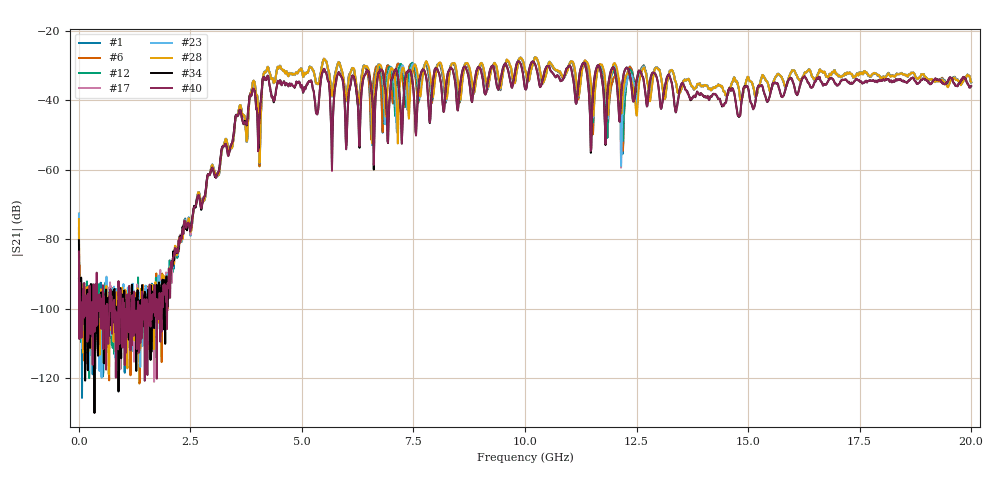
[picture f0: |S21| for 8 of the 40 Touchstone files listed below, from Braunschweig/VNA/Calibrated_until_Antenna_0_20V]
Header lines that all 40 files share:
#  HZ  S  RI  R  50.00
! Rohde & Schwarz Vector Network Analyzer
! Rohde-Schwarz,ZNB20-2Port,1311601062102128,3.60
! freq[Hz]  re:S11  im:S11  re:S21  im:S21  re:S12  im:S12  re:S22  im:S22
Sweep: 100 kHz to 20 GHz
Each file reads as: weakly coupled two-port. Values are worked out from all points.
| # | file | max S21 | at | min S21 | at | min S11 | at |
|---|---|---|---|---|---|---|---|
| 1 | 12.5_1.s2p | -27.70 dB | 10.22 GHz | -125.7 dB | 69.89 MHz | -59.3 dB | 9.342 GHz |
| 2 | 12.5_2.s2p | -27.62 dB | 10.23 GHz | -124.9 dB | 129.7 MHz | -58.8 dB | 9.342 GHz |
| 3 | 12.5_3.s2p | -27.68 dB | 10.23 GHz | -127.6 dB | 588.3 MHz | -58.5 dB | 9.342 GHz |
| 4 | 12.5_4.s2p | -27.65 dB | 10.23 GHz | -116.6 dB | 229.4 MHz | -59.8 dB | 9.342 GHz |
| 5 | 12.5_5.s2p | -27.67 dB | 10.23 GHz | -121.7 dB | 648.2 MHz | -60.0 dB | 9.342 GHz |
| 6 | 12.5_6.s2p | -27.65 dB | 10.23 GHz | -121.5 dB | 1.356 GHz | -60.3 dB | 9.342 GHz |
| 7 | 12.5_7.s2p | -27.68 dB | 10.23 GHz | -121.9 dB | 1.157 GHz | -59.0 dB | 9.342 GHz |
| 8 | 12.5_8.s2p | -27.66 dB | 10.23 GHz | -124.9 dB | 1.904 GHz | -59.7 dB | 9.342 GHz |
| 9 | 15_1.s2p | -27.64 dB | 10.23 GHz | -124.9 dB | 359 MHz | -56.0 dB | 6.182 GHz |
| 10 | 15_2.s2p | -27.63 dB | 10.23 GHz | -118.3 dB | 807.7 MHz | -57.6 dB | 6.182 GHz |
| 11 | 15_3.s2p | -27.66 dB | 10.23 GHz | -130.8 dB | 1.755 GHz | -55.4 dB | 6.182 GHz |
| 12 | 15_4.s2p | -27.66 dB | 10.23 GHz | -120.0 dB | 229.4 MHz | -55.6 dB | 6.182 GHz |
| 13 | 15_5.s2p | -27.65 dB | 10.23 GHz | -121.3 dB | 857.5 MHz | -55.7 dB | 6.182 GHz |
| 14 | 15_6.s2p | -27.65 dB | 10.23 GHz | -126.4 dB | 478.7 MHz | -56.5 dB | 6.182 GHz |
| 15 | 15_7.s2p | -27.65 dB | 10.23 GHz | -122.6 dB | 867.5 MHz | -56.2 dB | 6.182 GHz |
| 16 | 15_8.s2p | -27.65 dB | 10.23 GHz | -125.8 dB | 1.695 GHz | -55.7 dB | 6.182 GHz |
| 17 | 17.5_1.s2p | -27.66 dB | 10.23 GHz | -121.1 dB | 1.685 GHz | -62.8 dB | 6.182 GHz |
| 18 | 17.5_2.s2p | -27.68 dB | 10.23 GHz | -121.4 dB | 1.376 GHz | -64.7 dB | 6.182 GHz |
| 19 | 17.5_3.s2p | -27.64 dB | 10.23 GHz | -121.4 dB | 1.376 GHz | -61.5 dB | 6.182 GHz |
| 20 | 17.5_4.s2p | -27.63 dB | 10.23 GHz | -120.4 dB | 1.685 GHz | -62.8 dB | 6.182 GHz |
| 21 | 17.5_5.s2p | -27.66 dB | 10.23 GHz | -126.6 dB | 1.545 GHz | -60.8 dB | 6.182 GHz |
| 22 | 17.5_6.s2p | -27.66 dB | 10.23 GHz | -121.3 dB | 1.077 GHz | -61.1 dB | 6.182 GHz |
| 23 | 17.5_7.s2p | -27.68 dB | 10.23 GHz | -119.9 dB | 508.6 MHz | -59.8 dB | 6.182 GHz |
| 24 | 17.5_8.s2p | -27.64 dB | 10.23 GHz | -119.8 dB | 717.9 MHz | -62.2 dB | 6.182 GHz |
| 25 | 19.8_1.s2p | -27.69 dB | 10.23 GHz | -134.0 dB | 977.2 MHz | -62.4 dB | 6.182 GHz |
| 26 | 19.8_2.s2p | -27.71 dB | 10.23 GHz | -120.8 dB | 528.5 MHz | -59.6 dB | 6.182 GHz |
| 27 | 19.8_3.s2p | -27.72 dB | 10.23 GHz | -124.1 dB | 528.5 MHz | -59.2 dB | 6.182 GHz |
| 28 | 19.8_4.s2p | -27.66 dB | 10.23 GHz | -118.8 dB | 668.1 MHz | -60.1 dB | 10.85 GHz |
| 29 | 19.8_5.s2p | -27.70 dB | 10.23 GHz | -123.6 dB | 508.6 MHz | -58.2 dB | 6.182 GHz |
| 30 | 19.8_6.s2p | -27.68 dB | 10.23 GHz | -122.3 dB | 1.037 GHz | -59.4 dB | 6.182 GHz |
| 31 | 19.8_7.s2p | -27.71 dB | 10.23 GHz | -122.2 dB | 1.396 GHz | -57.6 dB | 6.182 GHz |
| 32 | 19.8_8.s2p | -27.68 dB | 10.23 GHz | -125.0 dB | 1.027 GHz | -59.7 dB | 6.182 GHz |
| 33 | metal_1.s2p | -28.84 dB | 9.85 GHz | -120.8 dB | 339.1 MHz | -48.3 dB | 6.511 GHz |
| 34 | metal_2.s2p | -28.87 dB | 9.85 GHz | -130.0 dB | 349.1 MHz | -48.6 dB | 6.521 GHz |
| 35 | metal_3.s2p | -28.84 dB | 9.86 GHz | -137.5 dB | 1.256 GHz | -48.3 dB | 6.521 GHz |
| 36 | metal_4.s2p | -28.79 dB | 9.85 GHz | -135.3 dB | 1.705 GHz | -48.5 dB | 6.521 GHz |
| 37 | metal_5.s2p | -28.79 dB | 9.85 GHz | -149.2 dB | 907.4 MHz | -48.8 dB | 6.511 GHz |
| 38 | metal_6.s2p | -28.82 dB | 9.85 GHz | -122.4 dB | 1.236 GHz | -48.9 dB | 6.521 GHz |
| 39 | metal_7.s2p | -28.81 dB | 9.85 GHz | -126.3 dB | 1.356 GHz | -48.2 dB | 6.511 GHz |
| 40 | metal_8.s2p | -28.81 dB | 9.85 GHz | -120.8 dB | 1.476 GHz | -48.0 dB | 6.521 GHz |
